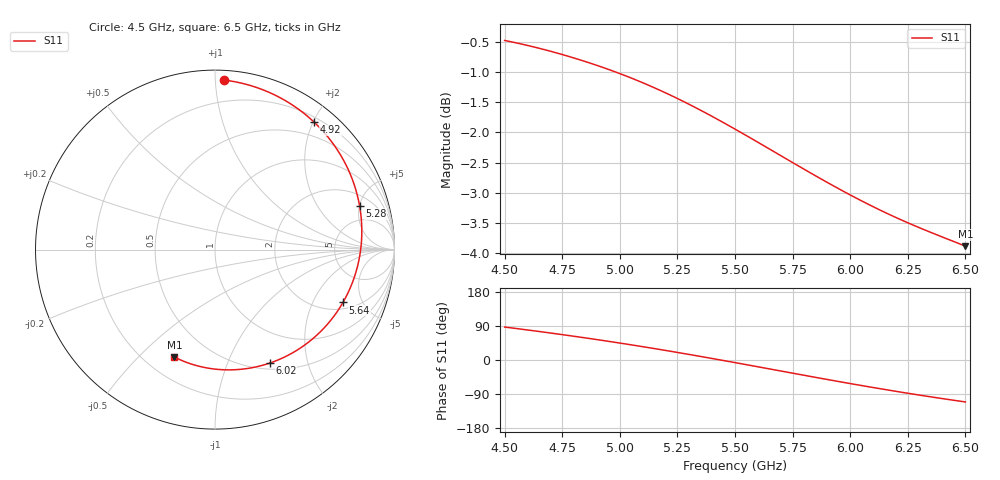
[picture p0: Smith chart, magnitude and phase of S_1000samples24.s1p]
! TOUCHSTONE file generated by CST MICROWAVE STUDIO
! Date and time: Wed Oct 26 17:45:28 2022
! Project name: L.cst
! Parameters = {Di=1.27; Epsilon_r=1.56; InnerDiameter=1.27; Length=2; Lf=10; Lg=60; OuterConductorThickness=0.2921; OuterDiameter=3.6; Wf=3; Wp=41.2; de=1.5; df=6.8; g=0.8; gx=1.30694; gy=2.93487; h=2.34; hf=1.524; px=8.60987; py=8.10588; w=9.7; wx=7.30293; wy=5.171}
! Header version: 2018
! Port assignment regex: !\s*Touchstone port\s*([0-9]+)\s*=\s*(CST MWS port|CST DS port)\s*([0-9]+|Zmin|Zmax)\s*\(\"(.*)\"\)(\s*mode\s*([0-9]+))?.*
! Touchstone port assignment:
! Touchstone port 1 = CST MWS port 1 ("")
# GHz S DB R 50
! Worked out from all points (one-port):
!   101 points, 4.5 GHz to 6.5 GHz, reference 50 ohm
!   lowest |S11| = -3.9 dB at 6.5 GHz (marker M1), VSWR 4.55, Z = 15.9 - j32.2 ohm
!   |S11| at or under -10 dB: nowhere
!   S11 on the Smith chart (normalised r, x): 4.5 GHz: 0.06, +1.05; 4.92 GHz: 0.27, +2.02; 5.28 GHz: 3.00, +5.02; 5.64 GHz: 2.39, -3.48; 6.02 GHz: 0.57, -1.43; 6.5 GHz: 0.32, -0.64
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4.5  -0.48 86.9
4.58  -0.55 80.8
4.64  -0.60 76.0
4.76  -0.73 66.1
4.84  -0.82 59.2
4.92  -0.92 52.1
5  -1.03 44.7
5.08  -1.15 37.0
5.14  -1.25 31.1
5.2  -1.35 25.1
5.26  -1.46 18.9
5.28  -1.50 16.8
5.34  -1.61 10.5
5.4  -1.74 4.0
5.5  -1.95 -6.9
5.56  -2.08 -13.5
5.64  -2.25 -22.4
5.76  -2.52 -35.9
5.82  -2.65 -42.5
5.88  -2.78 -49.2
5.94  -2.91 -55.7
6  -3.03 -62.2
6.02  -3.07 -64.3
6.08  -3.19 -70.6
6.14  -3.30 -76.8
6.26  -3.51 -88.7
6.38  -3.70 -100.0
6.5  -3.88 -110.7
